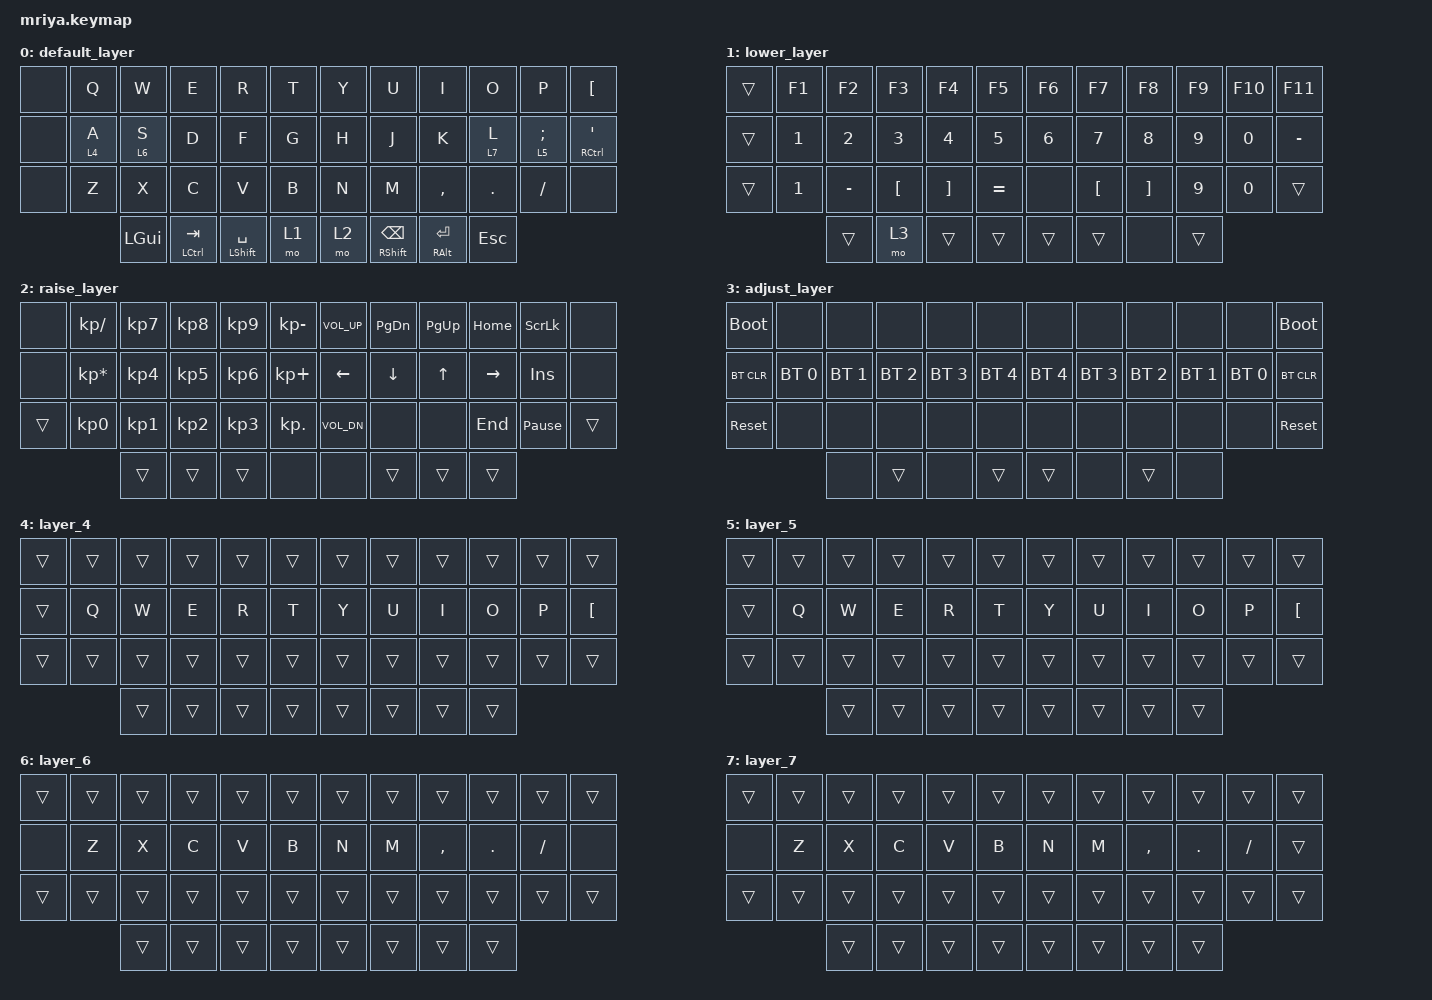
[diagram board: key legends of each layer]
/*
 * Copyright (c) 2023 Andrei Gaevskii
 *
 * SPDX-License-Identifier: MIT
 */

#include <behaviors.dtsi>
#include <dt-bindings/zmk/bt.h>
#include <dt-bindings/zmk/keys.h>

#define DEF 0
#define LWR 1
#define RSE 2
#define ADJ 3

&lt { quick_tap_ms = <200>; };

&mt { quick_tap_ms = <200>; };

/ {
    keymap {
        compatible = "zmk,keymap";

        default_layer {
            bindings = <
  &none  &kp Q    &kp W     &kp E                 &kp R                 &kp T    &kp Y  &kp U                      &kp I                &kp O    &kp P            &kp LBKT
  &none  &lt 4 A  &lt 6 S   &kp D                 &kp F                 &kp G    &kp H  &kp J                      &kp K                &lt 7 L  &lt 5 SEMICOLON  &mt RCTRL SQT
  &none  &kp Z    &kp X     &kp C                 &kp V                 &kp B    &kp N  &kp M                      &kp COMMA            &kp DOT  &kp FSLH         &none
                  &kp LGUI  &mt LEFT_CONTROL TAB  &mt LEFT_SHIFT SPACE  &mo 1    &mo 2  &mt RIGHT_SHIFT BACKSPACE  &mt RIGHT_ALT ENTER  &kp ESC
            >;
        };

        lower_layer {
            bindings = <
  &trans  &kp F1  &kp F2     &kp F3    &kp F4    &kp F5       &kp F6  &kp F7    &kp F8    &kp F9  &kp F10  &kp F11
  &trans  &kp N1  &kp N2     &kp N3    &kp N4    &kp N5       &kp N6  &kp N7    &kp N8    &kp N9  &kp N0   &kp MINUS
  &trans  &kp N1  &kp MINUS  &kp LBKT  &kp RBKT  &kp EQUAL    &none   &kp LBKT  &kp RBKT  &kp N9  &kp N0   &trans
                  &trans     &mo 3     &trans    &trans       &trans  &trans    &none     &trans
            >;
        };

        raise_layer {
            bindings = <
  &none   &kp KP_SLASH     &kp KP_N7  &kp KP_N8  &kp KP_N9  &kp KP_MINUS    &kp C_VOL_UP  &kp PAGE_DOWN  &kp PG_UP  &kp HOME   &kp SLCK         &none
  &none   &kp KP_MULTIPLY  &kp KP_N4  &kp KP_N5  &kp KP_N6  &kp KP_PLUS     &kp LEFT      &kp DOWN       &kp UP     &kp RIGHT  &kp INS          &none
  &trans  &kp KP_N0        &kp KP_N1  &kp KP_N2  &kp KP_N3  &kp KP_DOT      &kp C_VOL_DN  &none          &none      &kp END    &kp PAUSE_BREAK  &trans
                           &trans     &trans     &trans     &none           &none         &trans         &trans     &trans
            >;
        };

        adjust_layer {
            bindings = <
  &bootloader  &none         &none         &none         &none         &none           &none         &none         &none         &none         &none         &bootloader
  &bt BT_CLR   &bt BT_SEL 0  &bt BT_SEL 1  &bt BT_SEL 2  &bt BT_SEL 3  &bt BT_SEL 4    &bt BT_SEL 4  &bt BT_SEL 3  &bt BT_SEL 2  &bt BT_SEL 1  &bt BT_SEL 0  &bt BT_CLR
  &sys_reset   &none         &none         &none         &none         &none           &none         &none         &none         &none         &none         &sys_reset
                             &none         &trans        &none         &trans          &trans        &none         &trans        &none
            >;
        };

        layer_4 {
            bindings = <
  &trans  &trans  &trans  &trans  &trans  &trans    &trans  &trans  &trans  &trans  &trans  &trans
  &trans  &kp Q   &kp W   &kp E   &kp R   &kp T     &kp Y   &kp U   &kp I   &kp O   &kp P   &kp LBKT
  &trans  &trans  &trans  &trans  &trans  &trans    &trans  &trans  &trans  &trans  &trans  &trans
                  &trans  &trans  &trans  &trans    &trans  &trans  &trans  &trans
            >;
        };

        layer_5 {
            bindings = <
  &trans  &trans  &trans  &trans  &trans  &trans    &trans  &trans  &trans  &trans  &trans  &trans
  &trans  &kp Q   &kp W   &kp E   &kp R   &kp T     &kp Y   &kp U   &kp I   &kp O   &kp P   &kp LBKT
  &trans  &trans  &trans  &trans  &trans  &trans    &trans  &trans  &trans  &trans  &trans  &trans
                  &trans  &trans  &trans  &trans    &trans  &trans  &trans  &trans
            >;
        };

        layer_6 {
            bindings = <
  &trans  &trans  &trans  &trans  &trans  &trans    &trans  &trans  &trans     &trans   &trans    &trans
  &none   &kp Z   &kp X   &kp C   &kp V   &kp B     &kp N   &kp M   &kp COMMA  &kp DOT  &kp FSLH  &none
  &trans  &trans  &trans  &trans  &trans  &trans    &trans  &trans  &trans     &trans   &trans    &trans
                  &trans  &trans  &trans  &trans    &trans  &trans  &trans     &trans
            >;
        };

        layer_7 {
            bindings = <
  &trans  &trans  &trans  &trans  &trans  &trans    &trans  &trans  &trans     &trans   &trans    &trans
  &none   &kp Z   &kp X   &kp C   &kp V   &kp B     &kp N   &kp M   &kp COMMA  &kp DOT  &kp FSLH  &trans
  &trans  &trans  &trans  &trans  &trans  &trans    &trans  &trans  &trans     &trans   &trans    &trans
                  &trans  &trans  &trans  &trans    &trans  &trans  &trans     &trans
            >;
        };
    };
};
